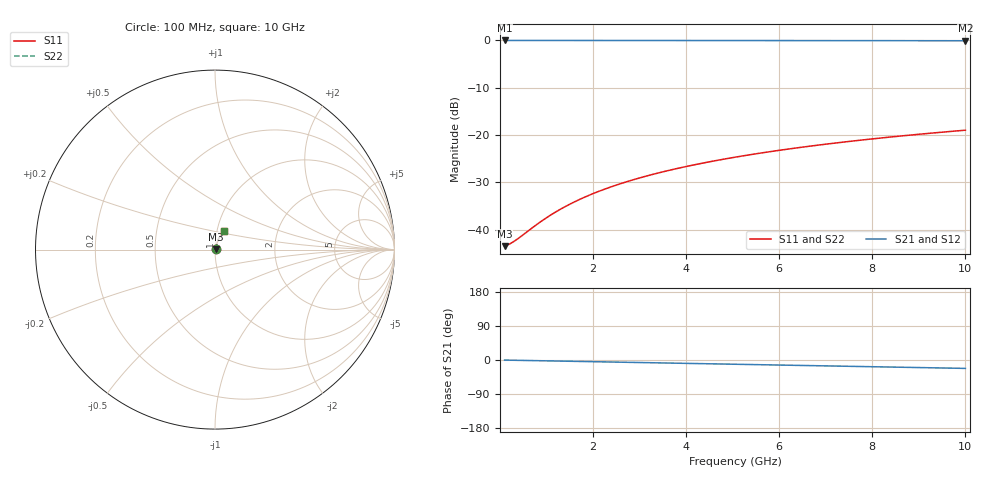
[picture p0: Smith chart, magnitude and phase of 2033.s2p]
# Hz S RI R 50.00
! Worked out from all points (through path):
!   100 points, 100 MHz to 10 GHz, reference 50 ohm
!   highest |S21| = -0.06 dB at 100 MHz (marker M1); lowest = -0.1 dB at 10 GHz (marker M2)
!   group delay of S21, straight-line fit = 6.15 ps
!   lowest |S11| = -43.4 dB at 100 MHz (marker M3), VSWR 1.01, Z = 50.7 + j0.115 ohm
!   |S11| at or under -10 dB: start of sweep to end of sweep
!   |S22| runs from -43.4 to -19.0 dB; largest |S21 - S12| = 0
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1e8  0.00664 0.00113  0.9934 -0.00385  0.9934 -0.00385  0.00664 0.00113
2e8  0.00669 0.00226  0.9933 -0.0077  0.9933 -0.0077  0.00669 0.00226
3e8  0.00675 0.00339  0.9932 -0.0116  0.9932 -0.0116  0.00675 0.00339
4e8  0.0068 0.00452  0.9931 -0.0154  0.9931 -0.0154  0.0068 0.00452
8e8  0.00709 0.00903  0.9927 -0.0308  0.9927 -0.0308  0.00709 0.00903
1.1e9  0.00738 0.0124  0.9921 -0.0423  0.9921 -0.0423  0.00738 0.0124
1.4e9  0.00774 0.0158  0.9915 -0.0539  0.9915 -0.0539  0.00774 0.0158
1.6e9  0.00802 0.018  0.991 -0.0615  0.991 -0.0615  0.00802 0.018
1.8e9  0.00834 0.0203  0.9904 -0.0692  0.9904 -0.0692  0.00834 0.0203
2.1e9  0.00887 0.0236  0.9894 -0.0807  0.9894 -0.0807  0.00887 0.0236
2.5e9  0.00971 0.028  0.9879 -0.096  0.9879 -0.096  0.00971 0.028
2.9e9  0.0107 0.0324  0.9861 -0.1113  0.9861 -0.1113  0.0107 0.0324
3.4e9  0.0121 0.0379  0.9835 -0.1303  0.9835 -0.1303  0.0121 0.0379
3.8e9  0.0134 0.0422  0.9812 -0.1455  0.9812 -0.1455  0.0134 0.0422
4.2e9  0.0148 0.0465  0.9786 -0.1607  0.9786 -0.1607  0.0148 0.0465
4.6e9  0.0163 0.0508  0.9757 -0.1758  0.9757 -0.1758  0.0163 0.0508
5.1e9  0.0184 0.056  0.9718 -0.1945  0.9718 -0.1945  0.0184 0.056
5.9e9  0.0222 0.0641  0.9647 -0.2244  0.9647 -0.2244  0.0222 0.0641
6.7e9  0.0264 0.0721  0.9567 -0.2539  0.9567 -0.2539  0.0264 0.0721
7.5e9  0.0312 0.0797  0.9477 -0.2831  0.9477 -0.2831  0.0312 0.0797
8.4e9  0.0371 0.0879  0.9364 -0.3155  0.9364 -0.3155  0.0371 0.0879
1e10  0.0489 0.1013  0.9135 -0.3718  0.9135 -0.3718  0.0489 0.1013
